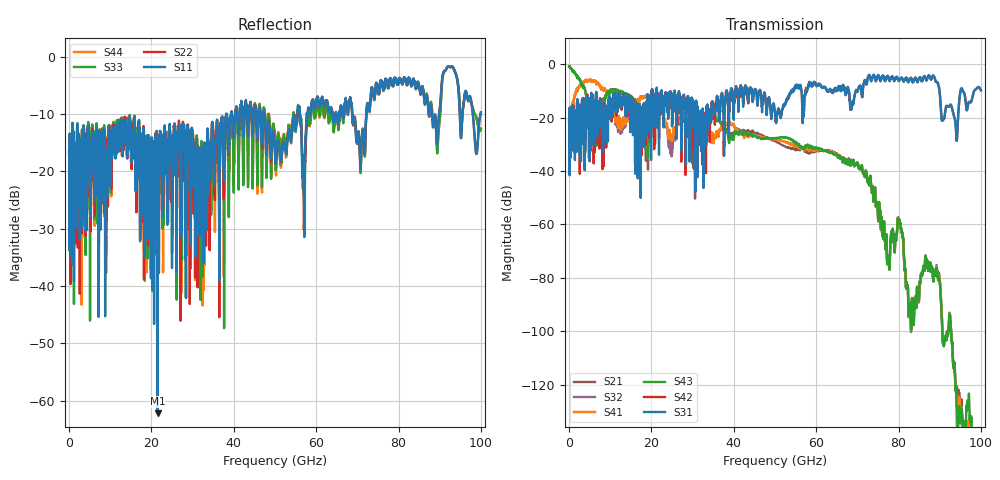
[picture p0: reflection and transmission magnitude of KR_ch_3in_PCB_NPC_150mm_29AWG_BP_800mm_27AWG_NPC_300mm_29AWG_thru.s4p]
# GHz S RI R 45
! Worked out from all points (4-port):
!   4000 points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, 25 MHz to 100 GHz, reference 45 ohm
!   strongest paths, dB at 25 MHz, 25.02 GHz, 50.02 GHz, 75.03 GHz, 100 GHz:
!     S31: -21.2, -20.8, -18.6, -4.1, -9.7
!     S42: -21.3, -17.5, -18.0, -4.3, -9.8
!     S43: -0.7, -14.6, -27.7, -57.4, -141.2
!     S41: -35.4, -28.8, -28.2, -57.4, -148.6
!     S32: -35.4, -33.3, -28.1, -57.4, -149.0
!     S21: -0.7, -14.6, -28.8, -57.5, -157.7
!   lowest |S11| = -62.2 dB at 21.52 GHz (marker M1), VSWR 1.00, Z = 45.1 - j0.0126 ohm
!   |S11| at or under -10 dB: start of sweep to 38.29 GHz; 47.37 GHz to 55.47 GHz (8.098 GHz wide, 15.7 % of centre); 68.76 GHz to 72.2 GHz (3.447 GHz wide, 4.89 % of centre)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
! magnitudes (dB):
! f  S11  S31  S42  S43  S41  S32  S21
! 25 MHz  -16.6  -21.2  -21.3  -0.7  -35.4  -35.4  -0.7
! 3.825 GHz  -17.0  -31.5  -22.1  -9.2  -6.3  -6.3  -9.3
! 21.52 GHz  -62.2  -20.8  -10.7  -18.0  -15.3  -15.6  -17.8
! 69.83 GHz  -14.8  -10.0  -10.2  -37.8  -37.6  -37.6  -37.5
! 82.22 GHz  -4.6  -5.8  -6.4  -83.3  -83.3  -83.4  -83.3
! 93.95 GHz  -3.0  -24.4  -24.4  -122.3  -122.8  -122.7  -120.7
! 100 GHz  -9.7  -9.7  -9.8  -141.2  -148.6  -149.0  -157.7
